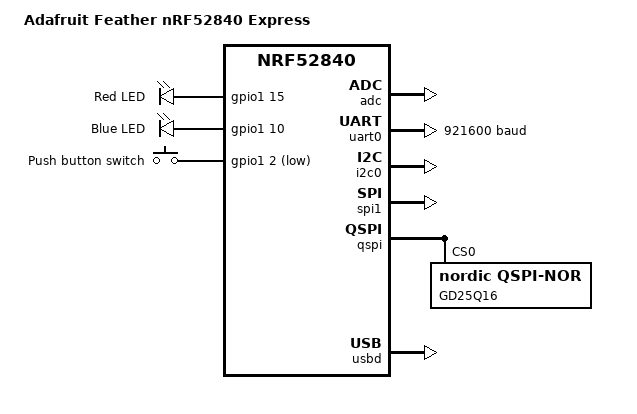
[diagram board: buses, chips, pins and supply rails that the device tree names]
/*
 * Copyright (c) 2020 Tobias Svehagen
 *
 * SPDX-License-Identifier: Apache-2.0
 */

/dts-v1/;
#include <nordic/nrf52840_qiaa.dtsi>
#include "feather_connector.dtsi"
#include "adafruit_feather_nrf52840-pinctrl.dtsi"

/ {
	model = "Adafruit Feather nRF52840 Express";
	compatible = "adafruit,feather-nrf52840";

	chosen {
		zephyr,console = &uart0;
		zephyr,shell-uart = &uart0;
		zephyr,uart-mcumgr = &uart0;
		zephyr,bt-mon-uart = &uart0;
		zephyr,bt-c2h-uart = &uart0;
		zephyr,sram = &sram0;
		zephyr,flash = &flash0;
		zephyr,code-partition = &code_partition;
	};

	leds {
		compatible = "gpio-leds";
		led0: led_0 {
			gpios = <&gpio1 15 0>;
			label = "Red LED";
		};
		led1: led_1 {
			gpios = <&gpio1 10 0>;
			label = "Blue LED";
		};
	};

	buttons {
		compatible = "gpio-keys";
		button0: button_0 {
			gpios = <&gpio1 2 (GPIO_PULL_UP | GPIO_ACTIVE_LOW)>;
			label = "Push button switch";
		};
	};

	/* These aliases are provided for compatibility with samples */
	aliases {
		led0 = &led0;
		led1 = &led1;
		sw0 = &button0;
	};
};

&adc {
	status = "okay";
};

&gpiote {
	status = "okay";
};

&gpio0 {
	status = "okay";
};

&gpio1 {
	status = "okay";
};

&uart0 {
	compatible = "nordic,nrf-uart";
	current-speed = <921600>;
	status = "okay";
	pinctrl-0 = <&uart0_default>;
	pinctrl-1 = <&uart0_sleep>;
	pinctrl-names = "default", "sleep";
};

&i2c0 {
	compatible = "nordic,nrf-twi";
	status = "okay";
	pinctrl-0 = <&i2c0_default>;
	pinctrl-1 = <&i2c0_sleep>;
	pinctrl-names = "default", "sleep";
};

&spi1 {
	compatible = "nordic,nrf-spi";
	status = "okay";
	pinctrl-0 = <&spi1_default>;
	pinctrl-1 = <&spi1_sleep>;
	pinctrl-names = "default", "sleep";
};

&qspi {
	status = "okay";
	pinctrl-0 = <&qspi_default>;
	pinctrl-1 = <&qspi_sleep>;
	pinctrl-names = "default", "sleep";
	gd25q16: gd25q16@0 {
		compatible = "nordic,qspi-nor";
		reg = <0>;
		writeoc = "pp4o";
		readoc = "read4io";
		sck-frequency = <16000000>;
		label = "GD25Q16";
		jedec-id = [c8 40 15];
		size = <16777216>;
		has-dpd;
		t-enter-dpd = <20000>;
		t-exit-dpd = <20000>;
		quad-enable-requirements = "S2B1v1";
	};
};

&flash0 {

	partitions {
		compatible = "fixed-partitions";
		#address-cells = <1>;
		#size-cells = <1>;

        sd_partition: partition@0 {
            label = "softdevice";
            reg = <0x00000000 0x00026000>;
        };

        code_partition: partition@26000 {
            label = "code_partition";
            reg = <0x00026000 0x000c6000>;
        };

        storage_partition: partition@ec000 {
            label = "storage";
            reg = <0x000ec000 0x00008000>;
        };

        boot_partition: partition@f4000 {
            label = "adafruit_boot";
            reg = <0x000f4000 0x0000c000>;
        };
	};
};

zephyr_udc0: &usbd {
	compatible = "nordic,nrf-usbd";
	status = "okay";
};
